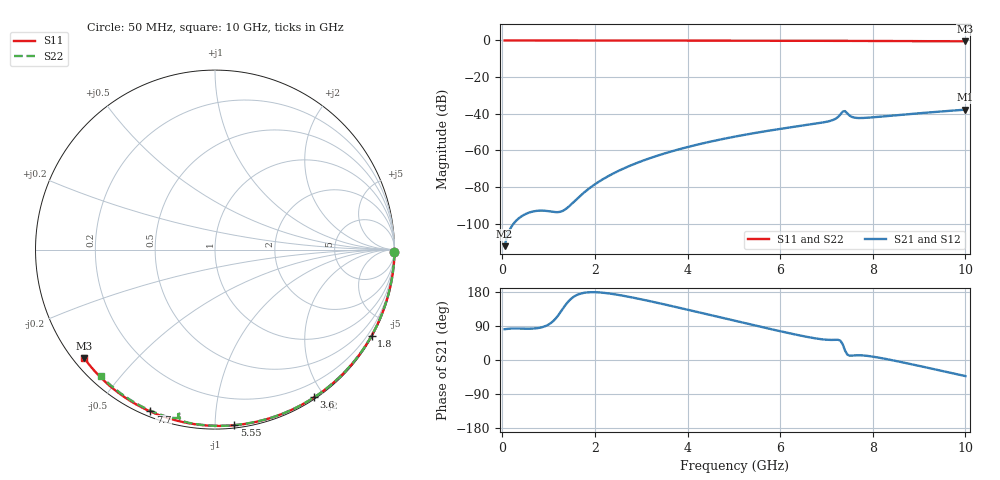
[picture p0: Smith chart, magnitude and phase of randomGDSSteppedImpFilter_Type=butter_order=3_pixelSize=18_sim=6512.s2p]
! freq	dB(S11)	phase(S11)	dB(S12)	phase(S12)
!  dB(S21)	phase(S21)	dB(S22)	phase(S22)
!S-par simulation data
#  GHz  S  DB  R 50
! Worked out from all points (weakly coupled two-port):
!   200 points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, 50 MHz to 10 GHz, reference 50 ohm
!   highest |S21| = -37.79 dB at 10 GHz (marker M1); lowest = -112.4 dB at 50 MHz (marker M2)
!   lowest |S11| = -0.5 dB at 10 GHz (marker M3), VSWR 36.72, Z = 1.54 - j18 ohm
!   |S11| at or under -10 dB: nowhere
!   |S22| runs from -0.6 to 0.0 dB; largest |S21 - S12| = 0
!   S11 on the Smith chart (normalised r, x): 50 MHz: open; 1.8 GHz: 0.03, -3.90; 3.6 GHz: 0.02, -1.88; 5.55 GHz: 0.02, -1.12; 7.7 GHz: 0.02, -0.68; 10 GHz: 0.03, -0.36
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0.05  -0.00 -0.8  -112.35 81.3  -112.35 81.3  -0.00 -0.8
0.9  -0.02 -14.5  -92.97 88.0  -92.97 88.0  -0.02 -13.7
1.75  -0.04 -28.0  -83.38 176.9  -83.38 176.9  -0.03 -26.3
1.8  -0.04 -28.7  -82.33 177.9  -82.33 177.9  -0.03 -27.1
1.9  -0.04 -30.3  -80.37 178.9  -80.37 178.9  -0.04 -28.5
1.95  -0.04 -31.1  -79.45 179.0  -79.45 179.0  -0.04 -29.3
2.25  -0.05 -35.7  -74.64 176.4  -74.64 176.4  -0.04 -33.7
2.65  -0.05 -41.9  -69.59 168.7  -69.59 168.7  -0.05 -39.5
3.4  -0.07 -53.2  -62.52 149.5  -62.52 149.5  -0.07 -50.1
3.6  -0.08 -56.1  -60.98 144.0  -60.98 144.0  -0.07 -52.9
4.3  -0.09 -66.3  -56.37 124.2  -56.37 124.2  -0.09 -62.6
5.05  -0.12 -76.9  -52.38 102.7  -52.38 102.7  -0.11 -72.6
5.55  -0.14 -83.7  -50.13 88.5  -50.13 88.5  -0.13 -79.1
6.7  -0.19 -99.0  -45.70 58.3  -45.70 58.3  -0.18 -93.8
7.15  -0.22 -104.8  -43.34 53.1  -43.34 53.1  -0.23 -99.8
7.25  -0.23 -106.1  -41.81 53.3  -41.81 53.3  -0.29 -101.5
7.35  -0.23 -107.3  -38.88 41.8  -38.88 41.8  -0.54 -102.7
7.4  -0.23 -108.0  -38.58 25.2  -38.58 25.2  -0.62 -101.8
7.55  -0.24 -109.9  -41.76 11.5  -41.76 11.5  -0.33 -102.8
7.7  -0.25 -111.8  -42.37 12.5  -42.37 12.5  -0.28 -104.9
8.35  -0.31 -119.9  -41.21 1.2  -41.21 1.2  -0.30 -113.0
10  -0.47 -140.3  -37.79 -42.5  -37.79 -42.5  -0.46 -132.1
